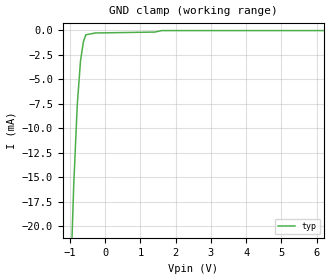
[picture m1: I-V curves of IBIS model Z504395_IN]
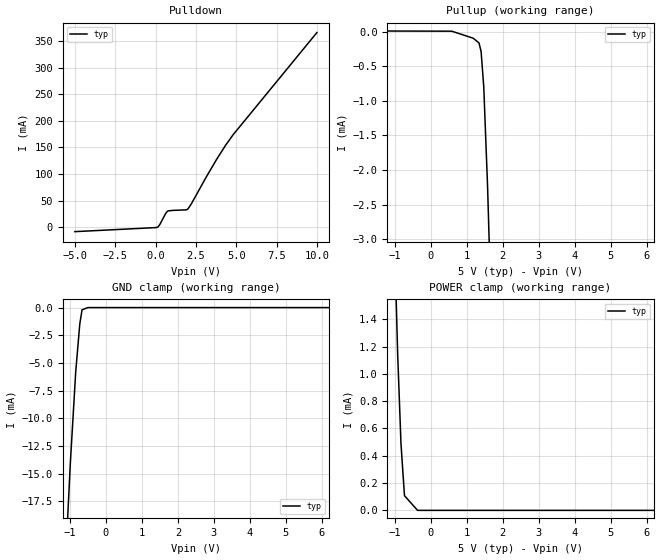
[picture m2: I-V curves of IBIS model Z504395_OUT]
| YOU ARE ONLY AUTHORIZED TO USE THIS SOFTWARE
| ACCORDING TO LICENSOR'S LICENSE RESTRICTIONS.
[IBIS Ver] 3.1
[File Name] sn54ls164j.ibs
[File Rev] 2.0
[Source] Measured and created by ICX Technology
[Date] Friday 7/14/00 9:08:13 AM
[Copyright]
| (C) COPYRIGHT 1993-2000
| MENTOR GRAPHICS CORPORATION
| ICX STANDARD LIBRARY, ICX PROJECT MODELING,
| ICX CUSTOM MODELING, ICX VENDOR MODEL
| ALL RIGHTS RESERVED.
| THE FOLLOWING ARE TRADEMARKS OR SERVICE MARKS OF
| MENTOR GRAPHICS CORPORATION:ICX (R), ICX STANDARD
| LIBRARY(R), ICX PROJECT MODELING(R), ICX CUSTOM
| MODELING(R), qualityIBIS(TM), MODELVIEWER(TM),
| AND MODELEDITOR(TM)
| ALL COPIES OF SOFTWARE, INCLUDING BUT NOT LIMITED TO
| ANY MODIFICATIONS, ENHANCEMENTS OR DERIVATIVE WORKS,
| MUST CONTAIN ALL MENTOR GRAPHICS CORPORATION'S
| NOTICES AND LEGENDS, INCLUDING THOSE EMBEDDED IN
| SOFTWARE AND THOSE AFFIXED TO SOFTWARE MEDIUM
| AND CONTAINER, AS RECEIVED FROM MENTOR GRAPHICS
| CORPORATION.
|  ZAP Model Builder 2.7
[Component] SN54LS164J
[Manufacturer] OnSemiconductor
[Package]
| variable   typ   min   max
R_pkg  .21ohms NA NA
L_pkg  4.543nH NA NA
C_pkg  1.8pF NA NA
[Pin] signal_name  model_name  R_pin  L_pin C_pin
1 A Z504395_IN .22 6.757n 2.434p
2 B Z504395_IN .212 4.757n 1.941p
3 QA Z504395_OUT .204 3.257n 1.448p
4 QB Z504395_OUT .196 2.257n .955p
5 QC Z504395_OUT .204 3.257n 1.448p
6 QD Z504395_OUT .212 4.757n 1.941p
7 GND GND .22 6.757n 2.434p
8 CLK Z504395_IN .22 6.757n 2.434p
9 _CLR Z504395_IN .212 4.757n 1.941p
10 QE Z504395_OUT .204 3.257n 1.448p
11 QF Z504395_OUT .196 2.257n .955p
12 QG Z504395_OUT .204 3.257n 1.448p
13 QH Z504395_OUT .212 4.757n 1.941p
14 VCC POWER .22 6.757n 2.434p
| Models and submodels in the file (2): Z504395_IN (Input), Z504395_OUT (Output)
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| (C) COPYRIGHT 1993-2000
| MENTOR GRAPHICS CORPORATION
| ICX STANDARD LIBRARY, ICX PROJECT MODELING,
| ICX CUSTOM MODELING, ICX VENDOR MODEL
| ALL RIGHTS RESERVED.
| THE FOLLOWING ARE TRADEMARKS OR SERVICE MARKS OF
| MENTOR GRAPHICS CORPORATION:ICX (R), ICX STANDARD
| LIBRARY(R), ICX PROJECT MODELING(R), ICX CUSTOM
| MODELING(R), qualityIBIS(TM), MODELVIEWER(TM),
| AND MODELEDITOR(TM)
| ALL COPIES OF SOFTWARE, INCLUDING BUT NOT LIMITED TO
| ANY MODIFICATIONS, ENHANCEMENTS OR DERIVATIVE WORKS,
| MUST CONTAIN ALL MENTOR GRAPHICS CORPORATION'S
| NOTICES AND LEGENDS, INCLUDING THOSE EMBEDDED IN
| SOFTWARE AND THOSE AFFIXED TO SOFTWARE MEDIUM
| AND CONTAINER, AS RECEIVED FROM MENTOR GRAPHICS
| CORPORATION.
| Model Application Version 1.89 2/18/99.
[Model] Z504395_IN
Model_type Input
Vinl = 800.0mV
Vinh = 2.000V
C_comp 4.000pF NA NA
| variable typ   min   max
[Voltage Range] 5.000V NA NA
[GND Clamp Reference] 0.000V NA NA
[POWER Clamp Reference] 5.000V NA NA
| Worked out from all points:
|   GND clamp passes 1 mA (typ) near -0.60 V on its own axis
[GND Clamp]
-5V       -468.2mA   NA         NA
-888.5mV  -15.73mA   NA         NA
-789.8mV  -7.628mA   NA         NA
-698.2mV  -3.136mA   NA         NA
-615.3mV  -1.154mA   NA         NA
-546.6mV  -440.7uA   NA         NA
-273.3mV  -253.7uA   NA         NA
1.408V    -160.8uA   NA         NA
1.606V    -9.181uA   NA         NA
10V       -9.181uA   NA         NA
[POWER Clamp]
-5V       0A         NA         NA
10V       0A         NA         NA
| (C) COPYRIGHT 1993-2000
| MENTOR GRAPHICS CORPORATION
| ICX STANDARD LIBRARY, ICX PROJECT MODELING,
| ICX CUSTOM MODELING, ICX VENDOR MODEL
| ALL RIGHTS RESERVED.
| THE FOLLOWING ARE TRADEMARKS OR SERVICE MARKS OF
| MENTOR GRAPHICS CORPORATION:ICX (R), ICX STANDARD
| LIBRARY(R), ICX PROJECT MODELING(R), ICX CUSTOM
| MODELING(R), qualityIBIS(TM), MODELVIEWER(TM),
| AND MODELEDITOR(TM)
| ALL COPIES OF SOFTWARE, INCLUDING BUT NOT LIMITED TO
| ANY MODIFICATIONS, ENHANCEMENTS OR DERIVATIVE WORKS,
| MUST CONTAIN ALL MENTOR GRAPHICS CORPORATION'S
| NOTICES AND LEGENDS, INCLUDING THOSE EMBEDDED IN
| SOFTWARE AND THOSE AFFIXED TO SOFTWARE MEDIUM
| AND CONTAINER, AS RECEIVED FROM MENTOR GRAPHICS
| CORPORATION.
| Model Application Version 1.89 2/18/99.
[Model] Z504395_OUT
Model_type Output
Vref=5.000V
Rref=2.000kohms
Cref=15.00pF
Vmeas=1.300V
C_comp 8.000pF NA NA
| variable typ   min   max
[Voltage Range] 5.000V NA NA
[POWER Clamp Reference] 5.000V NA NA
[Pullup Reference] 5.000V NA NA
[Pulldown Reference] 0.000V NA NA
[GND Clamp Reference] 0.000V NA NA
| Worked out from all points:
|   slope of the pulldown table from 0 to 0.75 V, typ, clamps not added: 24.3 ohm
|   slope of the pullup table from 0 to 0.75 V, typ, clamps not added: 26.2 kohm
|   GND clamp passes 1 mA (typ) near -0.70 V on its own axis
|   POWER clamp passes 1 mA (typ) near -0.90 V on its own axis
[GND Clamp]
-5V       -280.8mA   NA         NA
-990.5mV  -14.08mA   NA         NA
-839.7mV  -5.769mA   NA         NA
-727mV    -1.473mA   NA         NA
-664mV    -198uA     NA         NA
-498mV    0A         NA         NA
10V       0A         NA         NA
[Pulldown]
-5V       -8.393mA   NA         NA
87.89mV   -420.1uA   NA         NA
263.6mV   4.988mA    NA         NA
601.5mV   24.46mA    NA         NA
775.4mV   30.68mA    NA         NA
1.969V    33.56mA    NA         NA
2.236V    44.91mA    NA         NA
3.135V    94.13mA    NA         NA
3.78V     127.5mA    NA         NA
4.326V    153.6mA    NA         NA
4.805V    174mA      NA         NA
10V       366.4mA    NA         NA
[Pullup]
-5V       12.41uA    NA         NA
586mV     4.796uA    NA         NA
1.182V    -96.48uA   NA         NA
1.343V    -164.6uA   NA         NA
1.401V    -286.4uA   NA         NA
1.475V    -792.9uA   NA         NA
1.582V    -2.242mA   NA         NA
10V       -152.4mA   NA         NA
[POWER Clamp]
-5V       47.54mA    NA         NA
-1.011V   2.045mA    NA         NA
-917mV    1.143mA    NA         NA
-825mV    488.4uA    NA         NA
-728mV    107.7uA    NA         NA
-364mV    0A         NA         NA
10V       0A         NA         NA
[Ramp]
| variable typ min max
dV/dt_r 1.850/9.402n NA NA
dV/dt_f 1.850/3.370n NA NA
R_load = 500.0Ohms
